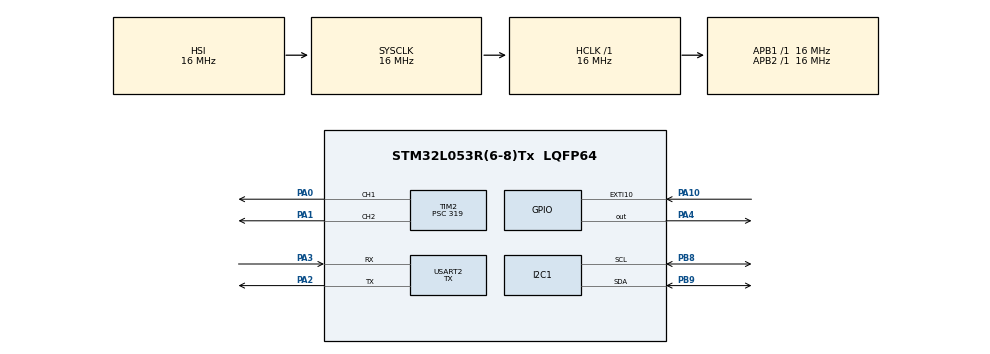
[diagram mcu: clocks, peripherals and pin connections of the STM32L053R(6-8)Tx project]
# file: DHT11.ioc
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I2C1.Timing=0x00303D5B
Mcu.Family=STM32L0
Mcu.Name=STM32L053R(6-8)Tx
Mcu.Package=LQFP64
NVIC.EXTI4_15_IRQn=true\:0\:0\:false\:false\:true\:true\:true\:true
NVIC.TIM6_DAC_IRQn=true\:0\:0\:false\:false\:true\:true\:true\:true
NVIC.USART2_IRQn=true\:0\:0\:false\:false\:true\:true\:true\:true
PA0.Signal=S_TIM2_CH1
PA1.Signal=S_TIM2_CH2
PA10.Signal=GPXTI10
PA2.Mode=Asynchronous
PA2.Signal=USART2_TX
PA3.Mode=Asynchronous
PA3.Signal=USART2_RX
PA4.Signal=GPIO_Output
PB8.Mode=I2C
PB8.Signal=I2C1_SCL
PB9.Mode=I2C
PB9.Signal=I2C1_SDA
ProjectManager.HeapSize=0x200
ProjectManager.StackSize=0x400
ProjectManager.TargetToolchain=STM32CubeIDE
RCC.AHBFreq_Value=16000000
RCC.APB1Freq_Value=16000000
RCC.APB1TimFreq_Value=16000000
RCC.APB2Freq_Value=16000000
RCC.APB2TimFreq_Value=16000000
RCC.HCLKFreq_Value=16000000
RCC.HSE_VALUE=8000000
RCC.HSI16_VALUE=16000000
RCC.HSI48_VALUE=48000000
RCC.HSI_VALUE=16000000
RCC.LSEState=RCC_LSE_ON
RCC.LSE_VALUE=32768
RCC.MSI_VALUE=2097000
RCC.SYSCLKFreq_VALUE=16000000
RCC.SYSCLKSource=RCC_SYSCLKSOURCE_HSI
RCC.VCOOutputFreq_Value=48000000
SH.S_TIM2_CH1.0=TIM2_CH1,PWM Generation1 CH1
SH.S_TIM2_CH2.0=TIM2_CH2,PWM Generation2 CH2
TIM2.Channel-PWM\ Generation1\ CH1=TIM_CHANNEL_1
TIM2.Channel-PWM\ Generation2\ CH2=TIM_CHANNEL_2
TIM2.Period=99
TIM2.Prescaler=319
TIM21.Prescaler=15
TIM6.Period=49
TIM6.Prescaler=15999
USART2.Mode=MODE_TX
USART2.VirtualMode-Asynchronous=VM_ASYNC
VP_TIM21_VS_ClockSourceINT.Mode=Internal
VP_TIM2_VS_ClockSourceINT.Mode=Internal
VP_TIM6_VS_ClockSourceINT.Mode=Enable_Timer
board=NUCLEO-L053R8

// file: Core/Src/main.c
/* USER CODE BEGIN Header */
/**
  ******************************************************************************
  * @file           : main.c
  * @brief          : Main program body
  ******************************************************************************
  * @attention
  *
  * Copyright (c) 2022 STMicroelectronics.
  * All rights reserved.
  *
  * This software is licensed under terms that can be found in the LICENSE file
  * in the root directory of this software component.
  * If no LICENSE file comes with this software, it is provided AS-IS.
  *
  ******************************************************************************
  */
/* USER CODE END Header */
#include "main.h"
#include "i2c.h"
#include "tim.h"
#include "usart.h"
#include "gpio.h"

/* USER CODE BEGIN Includes */
#include <math.h>
#include <stdio.h>
#include "DHT.h"
#include "rgb_lcd.h"
/* USER CODE END Includes */

/* USER CODE BEGIN PD */
#define DEBUG
/* USER CODE END PD */

/* USER CODE BEGIN PV */
DHT dht;
rgb_lcd lcd;
volatile bool S = false;
uint8_t degrees[8] = {
    0b00110,
    0b01001,
    0b01001,
    0b00110,
    0b00000,
    0b00000,
    0b00000,
    0b00000
};
/* USER CODE END PV */

void SystemClock_Config(void);
/* USER CODE BEGIN PFP */
float map(float x, float in_min, float in_max, float out_min, float out_max);
/* USER CODE END PFP */

int main(void)
{

  /* MCU Configuration--------------------------------------------------------*/

  /* Reset of all peripherals, Initializes the Flash interface and the Systick. */
  HAL_Init();

  /* USER CODE BEGIN Init */
  DHT_init(&dht, GPIO_PIN_4, DHT11, COUNT);
  rgb_lcd_init(&lcd);
  /* USER CODE END Init */

  /* Configure the system clock */
  SystemClock_Config();

  /* Initialize all configured peripherals */
  MX_GPIO_Init();
  MX_I2C1_Init();
  MX_TIM2_Init();
  MX_TIM6_Init();
  MX_USART2_UART_Init();
  MX_TIM21_Init();
  /* USER CODE BEGIN 2 */
  HAL_GPIO_WritePin(GPIOA, dht._pin, GPIO_PIN_SET);
  HAL_TIM_PWM_Start(&htim2, TIM_CHANNEL_1);
  HAL_TIM_PWM_Start(&htim2, TIM_CHANNEL_2);
  HAL_TIM_Base_Start(&htim21);
  DHT_begin(&dht);
  rgb_lcd_begin(&lcd, 16, 2, LCD_5x8DOTS, &hi2c1);
  rgb_lcd_createChar(&lcd, 0, degrees);
  /* USER CODE END 2 */

  /* Infinite loop */
  /* USER CODE BEGIN WHILE */
  while (1)
  {
    DHT_read(&dht);
    float humidity = DHT_readHumidity(&dht);
    float temperature = DHT_readTemperature(&dht, S);

    if (isnan(humidity) || isnan(temperature))
    {
      continue;
    }

    double integral;
    double fractional = modf(temperature, &integral);

    rgb_lcd_clear(&lcd);
    char s1[16] = {'\0'};
    uint32_t len1 = snprintf(s1, sizeof(s1), "Humidity: %d%%", (int)(humidity));
    rgb_lcd_setCursor(&lcd, 0, 0);
    rgb_lcd_print(&lcd, s1, len1);
    char s2[16] = {'\0'};
    uint32_t len2 = snprintf(s2, sizeof(s2), "Temp.: %d.%d", (int)integral, (int)(fractional * 10));
    rgb_lcd_setCursor(&lcd, 0, 1);
    rgb_lcd_print(&lcd, s2, len2);
    if (S)
    {
      rgb_lcd_write(&lcd, 'F');
    }
    else
    {
      rgb_lcd_write(&lcd, 0);
      rgb_lcd_write(&lcd, 'C');
    }

    htim2.Instance->CCR1 = map(humidity, 5, 95, 0, 99);
    htim2.Instance->CCR2 = map(temperature, -20, S ? 140 : 60, 0, 99);

    HAL_Delay(1000);
    /* USER CODE END WHILE */

  }
}

void SystemClock_Config(void)
{
  RCC_OscInitTypeDef RCC_OscInitStruct = {0};
  RCC_ClkInitTypeDef RCC_ClkInitStruct = {0};
  RCC_PeriphCLKInitTypeDef PeriphClkInit = {0};

  /** Configure the main internal regulator output voltage
  */
  __HAL_PWR_VOLTAGESCALING_CONFIG(PWR_REGULATOR_VOLTAGE_SCALE1);

  /** Initializes the RCC Oscillators according to the specified parameters
  * in the RCC_OscInitTypeDef structure.
  */
  RCC_OscInitStruct.OscillatorType = RCC_OSCILLATORTYPE_HSI;
  RCC_OscInitStruct.HSIState = RCC_HSI_ON;
  RCC_OscInitStruct.HSICalibrationValue = RCC_HSICALIBRATION_DEFAULT;
  RCC_OscInitStruct.PLL.PLLState = RCC_PLL_NONE;
  if (HAL_RCC_OscConfig(&RCC_OscInitStruct) != HAL_OK)
  {
    Error_Handler();
  }

  /** Initializes the CPU, AHB and APB buses clocks
  */
  RCC_ClkInitStruct.ClockType = RCC_CLOCKTYPE_HCLK|RCC_CLOCKTYPE_SYSCLK
                              |RCC_CLOCKTYPE_PCLK1|RCC_CLOCKTYPE_PCLK2;
  RCC_ClkInitStruct.SYSCLKSource = RCC_SYSCLKSOURCE_HSI;
  RCC_ClkInitStruct.AHBCLKDivider = RCC_SYSCLK_DIV1;
  RCC_ClkInitStruct.APB1CLKDivider = RCC_HCLK_DIV1;
  RCC_ClkInitStruct.APB2CLKDivider = RCC_HCLK_DIV1;

  if (HAL_RCC_ClockConfig(&RCC_ClkInitStruct, FLASH_LATENCY_0) != HAL_OK)
  {
    Error_Handler();
  }
  PeriphClkInit.PeriphClockSelection = RCC_PERIPHCLK_USART2|RCC_PERIPHCLK_I2C1;
  PeriphClkInit.Usart2ClockSelection = RCC_USART2CLKSOURCE_PCLK1;
  PeriphClkInit.I2c1ClockSelection = RCC_I2C1CLKSOURCE_PCLK1;
  if (HAL_RCCEx_PeriphCLKConfig(&PeriphClkInit) != HAL_OK)
  {
    Error_Handler();
  }
}

/* USER CODE BEGIN 4 */
void HAL_TIM_PeriodElapsedCallback(TIM_HandleTypeDef *htim) {
  if (htim->Instance == TIM6) {
    S = HAL_GPIO_ReadPin(GPIOA, GPIO_PIN_10) ? !S : S;
    HAL_TIM_Base_Stop_IT(htim);
  }
}

void HAL_GPIO_EXTI_Callback(uint16_t GPIO_Pin)
{
  switch (GPIO_Pin)
  {
  case GPIO_PIN_10:
    HAL_TIM_Base_Start_IT(&htim6);
    break;

  default:
    break;
  }
}

float map(float x, float in_min, float in_max, float out_min, float out_max)
{
  return (x - in_min) * (out_max - out_min) / (in_max - in_min) + out_min;
}
/* USER CODE END 4 */

void Error_Handler(void)
{
  __disable_irq();
  while (1)
  {
  }
}
